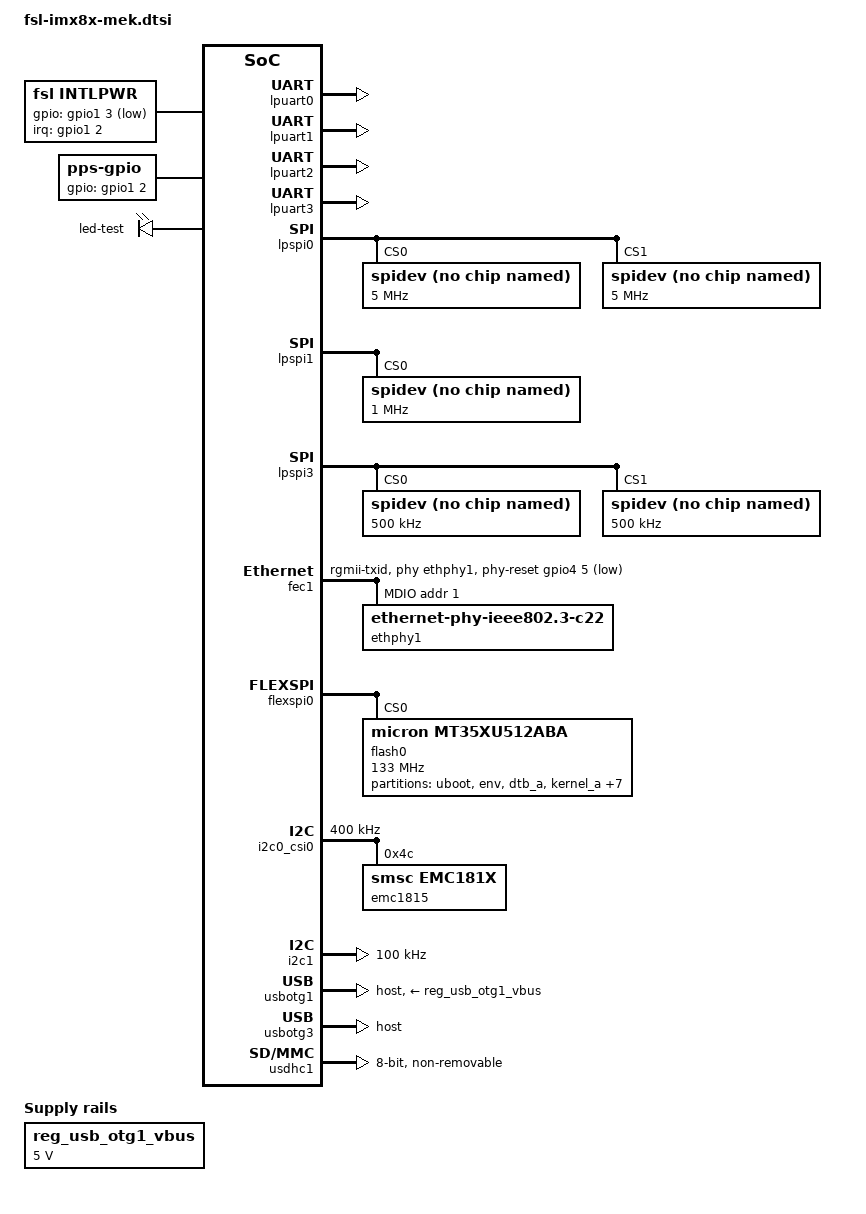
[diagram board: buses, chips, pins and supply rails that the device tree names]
/*
 * Copyright 2017-2020 NXP
 *
 * This program is free software; you can redistribute it and/or
 * modify it under the terms of the GNU General Public License
 * as published by the Free Software Foundation; either version 2
 * of the License, or (at your option) any later version.
 *
 * This program is distributed in the hope that it will be useful,
 * but WITHOUT ANY WARRANTY; without even the implied warranty of
 * MERCHANTABILITY or FITNESS FOR A PARTICULAR PURPOSE.  See the
 * GNU General Public License for more details.
 */

#define __H71E__	  1
#define __5940_PCIE_ENABLE__ 0 //ShengYuan: 5940 doesn't use PCIE to connect CV2X daughter board now.
/ {
	chosen {
		bootargs = "console=ttyLP0,115200 earlycon=lpuart32,0x5a060000,115200";
		stdout-path = &lpuart0;
	};
	
	gpio-keys {
        	compatible = "gpio-keys";
        	pinctrl-names = "default";
	};

	intlpwr{
		compatible = "fsl,intlpwr";	
		pinctrl-names = "default";
		pinctrl-0 = <&pinctrl_lpwr>;
//		gpios = <&gpio1 4 GPIO_ACTIVE_LOW>;
		gpios = <&gpio1 3 GPIO_ACTIVE_LOW>;
		interrupts = <2 IRQ_TYPE_EDGE_FALLING>;
		interrupt-parent = <&gpio1>;
	};
        
	regulators {
		compatible = "simple-bus";
		#address-cells = <1>;
		#size-cells = <0>;


		reg_usb_otg1_vbus: regulator@0 {
			compatible = "regulator-fixed";
			reg = <0>;
			regulator-name = "usb_otg1_vbus";
			regulator-min-microvolt = <5000000>;
			regulator-max-microvolt = <5000000>;
			// Commented out by Kevin 20200413 -- Unnecessary in H7D1 
			// gpio = <&pca9557_b 2 GPIO_ACTIVE_HIGH>;
		  	// End of commented out by Kevin 20200413 -- Unnecessary in H7D1 
			enable-active-high;
		};

	};

	pps {
      		compatible = "pps-gpio";
		pintctrl-names = "default";
		pinctrl-0 = <&pinctrl_pps>;
		gpios = <&gpio1 2 GPIO_ACTIVE_HIGH>;
		status = "okay";
	};
	
	leds {
 		compatible = "gpio-leds"; 
		pinctrl-names = "default";
		pinctrl-0 = <&pinctrl_led>;
		led-test {
			label = "led-test";
			//gpios = <&gpio5 9 GPIO_ACTIVE_LOW>;
		};
	};


};

&iomuxc {
	pinctrl-names = "default";
	pinctrl-0 = <&pinctrl_hog>;

	imx8qxp-mek {
		pinctrl_hog: hoggrp {
			fsl,pins = <
				SC_P_COMP_CTL_GPIO_1V8_3V3_GPIORHB_PAD		0x000514a0
			>;
		};

		pinctrl_lpuart0: lpuart0grp {
			fsl,pins = <
				SC_P_UART0_RX_ADMA_UART0_RX		0x06000020
				SC_P_UART0_TX_ADMA_UART0_TX		0x06000020
			>;
		};

		pinctrl_lpuart1: lpuart1grp {
			fsl,pins = <
				SC_P_UART1_TX_ADMA_UART1_TX		0x06000020
				SC_P_UART1_RX_ADMA_UART1_RX		0x06000020
				SC_P_UART1_RTS_B_ADMA_UART1_RTS_B	0x06000020
				SC_P_UART1_CTS_B_ADMA_UART1_CTS_B	0x06000020
			>;
		};

		pinctrl_lpuart2: lpuart2grp {
			fsl,pins = <
				SC_P_UART2_TX_ADMA_UART2_TX		0x06000020
				SC_P_UART2_RX_ADMA_UART2_RX		0x06000020
			>;
		};

		pinctrl_lpuart3: lpuart3grp {
			fsl,pins = <
				SC_P_FLEXCAN2_TX_ADMA_UART3_TX		0x06000020
				SC_P_FLEXCAN2_RX_ADMA_UART3_RX		0x06000020
			>;
		};

		pinctrl_lpspi0: lpspi0grp {
			fsl,pins = <
				SC_P_SPI0_SCK_ADMA_SPI0_SCK		0x0600004c
				SC_P_SPI0_SDO_ADMA_SPI0_SDO		0x0600004c
				SC_P_SPI0_SDI_ADMA_SPI0_SDI		0x0600004c
				SC_P_SPI0_CS0_ADMA_SPI0_CS0		0x0600004c
				SC_P_SPI0_CS1_ADMA_SPI0_CS1		0x0600004c
			>;
		};
	      
		pinctrl_lpspi1: lpspi1grp {
			fsl,pins = <
				SC_P_SAI0_TXFS_ADMA_SPI1_SCK            0x0600004c
				SC_P_SAI0_TXD_ADMA_SPI1_SDO             0x0600004c
				SC_P_SAI0_TXC_ADMA_SPI1_SDI             0x0600004c
				SC_P_SAI0_RXD_ADMA_SPI1_CS0		0x0600004c
			>;
		};
/*
		pinctrl_dsrc_hsm1800_dav_pin: hsm1800_dav_pin {
			fsl,pins = <
				SC_P_MIPI_DSI1_GPIO0_01_LSIO_GPIO2_IO00		0xe0000061
			>;
		};
*/
		

		pinctrl_lpspi3: lpspi3grp {
			fsl,pins = <
				SC_P_SPI3_SCK_ADMA_SPI3_SCK		0x0600004c
				SC_P_SPI3_SDO_ADMA_SPI3_SDO		0x0600004c
				SC_P_SPI3_SDI_ADMA_SPI3_SDI		0x0600004c
				SC_P_SPI3_CS0_ADMA_SPI3_CS0		0x0600004c
				SC_P_SPI3_CS1_ADMA_SPI3_CS1		0x0600004c
			>;
		};

		pinctrl_fec1_gpio: fec1gpiogrp {
			fsl,pins = <
				/* PHY reset */
				SC_P_USB_SS3_TC2_LSIO_GPIO4_IO05	0xE0000021 
				/* PHY interrupt */
				SC_P_USB_SS3_TC0_LSIO_GPIO4_IO03	0xE0000021 
			>;
		};
		
		pinctrl_fec_mdio: fecmdiogrp {
			fsl,pins = <
				SC_P_ENET0_MDC_CONN_ENET0_MDC		0x06000020
				SC_P_ENET0_MDIO_CONN_ENET0_MDIO		0x06000020
			>;
		};

		pinctrl_fec1: fec1grp {
			fsl,pins = <
				SC_P_ENET0_RGMII_TX_CTL_CONN_ENET0_RGMII_TX_CTL	0x06000020
				SC_P_ENET0_RGMII_TXC_CONN_ENET0_RGMII_TXC	0x06000020
				SC_P_ENET0_RGMII_TXD0_CONN_ENET0_RGMII_TXD0	0x06000020
				SC_P_ENET0_RGMII_TXD1_CONN_ENET0_RGMII_TXD1	0x06000020
				SC_P_ENET0_RGMII_TXD2_CONN_ENET0_RGMII_TXD2	0x06000020
				SC_P_ENET0_RGMII_TXD3_CONN_ENET0_RGMII_TXD3	0x06000020
				SC_P_ENET0_RGMII_RXC_CONN_ENET0_RGMII_RXC	0x06000020
				SC_P_ENET0_RGMII_RX_CTL_CONN_ENET0_RGMII_RX_CTL	0x06000020
				SC_P_ENET0_RGMII_RXD0_CONN_ENET0_RGMII_RXD0	0x06000020
				SC_P_ENET0_RGMII_RXD1_CONN_ENET0_RGMII_RXD1	0x06000020
				SC_P_ENET0_RGMII_RXD2_CONN_ENET0_RGMII_RXD2	0x06000020
				SC_P_ENET0_RGMII_RXD3_CONN_ENET0_RGMII_RXD3	0x06000020
			>;
		};
				


		pinctrl_flexspi0: flexspi0grp {
			fsl,pins = <
			  // Modified by Kevin 20200413 -- porting from H7.1D
				SC_P_QSPI0A_DATA0_LSIO_QSPI0A_DATA0 		0x06000020
				SC_P_QSPI0A_DATA1_LSIO_QSPI0A_DATA1		0x06000020
				SC_P_QSPI0A_DATA2_LSIO_QSPI0A_DATA2 		0x06000020
				SC_P_QSPI0A_DATA3_LSIO_QSPI0A_DATA3 		0x06000020
				SC_P_QSPI0A_DQS_LSIO_QSPI0A_DQS 		0x06000060
				SC_P_QSPI0A_SS0_B_LSIO_QSPI0A_SS0_B 		0x06000020
				SC_P_QSPI0A_SS1_B_LSIO_QSPI0A_SS1_B 		0x06000020
				SC_P_QSPI0A_SCLK_LSIO_QSPI0A_SCLK 		0x06000040
				//SC_P_QSPI0B_SCLK_LSIO_QSPI0B_SCLK		0x06000040
				SC_P_QSPI0B_DATA0_LSIO_QSPI0B_DATA0 		0x06000020
				SC_P_QSPI0B_DATA1_LSIO_QSPI0B_DATA1 		0x06000020
				SC_P_QSPI0B_DATA2_LSIO_QSPI0B_DATA2 		0x06000020
				SC_P_QSPI0B_DATA3_LSIO_QSPI0B_DATA3		0x06000020
				//SC_P_QSPI0B_DQS_LSIO_QSPI0B_DQS		0x06000060
				//SC_P_QSPI0B_SS0_B_LSIO_QSPI0B_SS0_B 		0x06000020
				//SC_P_QSPI0B_SS1_B_LSIO_QSPI0B_SS1_B 		0x06000020
			>;
		};
		
		pinctrl_lpi2c0: lpi2c0grp {
			fsl,pins = <
				SC_P_MIPI_CSI0_I2C0_SCL_MIPI_CSI0_I2C0_SCL	0x06000021
				SC_P_MIPI_CSI0_I2C0_SDA_MIPI_CSI0_I2C0_SDA	0x06000021
			>;
		};

		pinctrl_lpi2c1: lpi1cgrp {
			fsl,pins = <
				SC_P_USB_SS3_TC1_ADMA_I2C1_SCL		0x06000021
				SC_P_USB_SS3_TC3_ADMA_I2C1_SDA		0x06000021
			>;
		};

		pinctrl_usdhc1: usdhc1grp {
			fsl,pins = <
				SC_P_EMMC0_CLK_CONN_EMMC0_CLK		0x06000041
				SC_P_EMMC0_CMD_CONN_EMMC0_CMD		0x00000021
				SC_P_EMMC0_DATA0_CONN_EMMC0_DATA0	0x00000021
				SC_P_EMMC0_DATA1_CONN_EMMC0_DATA1	0x00000021
				SC_P_EMMC0_DATA2_CONN_EMMC0_DATA2	0x00000021
				SC_P_EMMC0_DATA3_CONN_EMMC0_DATA3	0x00000021
				SC_P_EMMC0_DATA4_CONN_EMMC0_DATA4	0x00000021
				SC_P_EMMC0_DATA5_CONN_EMMC0_DATA5	0x00000021
				SC_P_EMMC0_DATA6_CONN_EMMC0_DATA6	0x00000021
				SC_P_EMMC0_DATA7_CONN_EMMC0_DATA7	0x00000021
				SC_P_EMMC0_STROBE_CONN_EMMC0_STROBE	0x00000041
			>;
		};

		pinctrl_usdhc1_100mhz: usdhc1grp100mhz {
			fsl,pins = <
				SC_P_EMMC0_CLK_CONN_EMMC0_CLK		0x06000041
				SC_P_EMMC0_CMD_CONN_EMMC0_CMD		0x00000021
				SC_P_EMMC0_DATA0_CONN_EMMC0_DATA0	0x00000021
				SC_P_EMMC0_DATA1_CONN_EMMC0_DATA1	0x00000021
				SC_P_EMMC0_DATA2_CONN_EMMC0_DATA2	0x00000021
				SC_P_EMMC0_DATA3_CONN_EMMC0_DATA3	0x00000021
				SC_P_EMMC0_DATA4_CONN_EMMC0_DATA4	0x00000021
				SC_P_EMMC0_DATA5_CONN_EMMC0_DATA5	0x00000021
				SC_P_EMMC0_DATA6_CONN_EMMC0_DATA6	0x00000021
				SC_P_EMMC0_DATA7_CONN_EMMC0_DATA7	0x00000021
				SC_P_EMMC0_STROBE_CONN_EMMC0_STROBE	0x00000041
			>;
		};

		pinctrl_usdhc1_200mhz: usdhc1grp200mhz {
			fsl,pins = <
				SC_P_EMMC0_CLK_CONN_EMMC0_CLK		0x06000041
				SC_P_EMMC0_CMD_CONN_EMMC0_CMD		0x00000021
				SC_P_EMMC0_DATA0_CONN_EMMC0_DATA0	0x00000021
				SC_P_EMMC0_DATA1_CONN_EMMC0_DATA1	0x00000021
				SC_P_EMMC0_DATA2_CONN_EMMC0_DATA2	0x00000021
				SC_P_EMMC0_DATA3_CONN_EMMC0_DATA3	0x00000021
				SC_P_EMMC0_DATA4_CONN_EMMC0_DATA4	0x00000021
				SC_P_EMMC0_DATA5_CONN_EMMC0_DATA5	0x00000021
				SC_P_EMMC0_DATA6_CONN_EMMC0_DATA6	0x00000021
				SC_P_EMMC0_DATA7_CONN_EMMC0_DATA7	0x00000021
				SC_P_EMMC0_STROBE_CONN_EMMC0_STROBE	0x00000041
			>;
		};

/* JStinnett 20220217: USDHC1 interface to B2B26 is not used for now, so comment out */
/*
		pinctrl_usdhc2: usdhc2grp {
			fsl,pins = <
				SC_P_USDHC1_CLK_CONN_USDHC1_CLK		0x06000041
				SC_P_USDHC1_CMD_CONN_USDHC1_CMD		0x00000021
				SC_P_USDHC1_DATA0_CONN_USDHC1_DATA0	0x00000021
				SC_P_USDHC1_DATA1_CONN_USDHC1_DATA1	0x00000021
				SC_P_USDHC1_DATA2_CONN_USDHC1_DATA2	0x00000021
				SC_P_USDHC1_DATA3_CONN_USDHC1_DATA3	0x00000021
				SC_P_USDHC1_VSELECT_CONN_USDHC1_VSELECT	0x00000021
			>;
		};

		pinctrl_usdhc2_100mhz: usdhc2grp100mhz {
			fsl,pins = <
				SC_P_USDHC1_CLK_CONN_USDHC1_CLK		0x06000041
				SC_P_USDHC1_CMD_CONN_USDHC1_CMD		0x00000021
				SC_P_USDHC1_DATA0_CONN_USDHC1_DATA0	0x00000021
				SC_P_USDHC1_DATA1_CONN_USDHC1_DATA1	0x00000021
				SC_P_USDHC1_DATA2_CONN_USDHC1_DATA2	0x00000021
				SC_P_USDHC1_DATA3_CONN_USDHC1_DATA3	0x00000021
				SC_P_USDHC1_VSELECT_CONN_USDHC1_VSELECT	0x00000021
			>;
		};

		pinctrl_usdhc2_200mhz: usdhc2grp200mhz {
			fsl,pins = <
				SC_P_USDHC1_CLK_CONN_USDHC1_CLK		0x06000041
				SC_P_USDHC1_CMD_CONN_USDHC1_CMD		0x00000021
				SC_P_USDHC1_DATA0_CONN_USDHC1_DATA0	0x00000021
				SC_P_USDHC1_DATA1_CONN_USDHC1_DATA1	0x00000021
				SC_P_USDHC1_DATA2_CONN_USDHC1_DATA2	0x00000021
				SC_P_USDHC1_DATA3_CONN_USDHC1_DATA3	0x00000021
				SC_P_USDHC1_VSELECT_CONN_USDHC1_VSELECT	0x00000021
			>;
		};
*/
#if __5940_PCIE_ENABLE__
		pinctrl_pcieb: pcieagrp {
			fsl,pins = <
				SC_P_PCIE_CTRL0_PERST_B_LSIO_GPIO4_IO00		0x06000021
				SC_P_PCIE_CTRL0_CLKREQ_B_LSIO_GPIO4_IO01	0x06000021
				SC_P_PCIE_CTRL0_WAKE_B_LSIO_GPIO4_IO02		0x04000021
			>;
		};
#endif

		pinctrl_led: ledgrp {
			fsl,pins = <
				SC_P_ENET0_REFCLK_125M_25M_LSIO_GPIO5_IO09	0xE0000021 // TP1701 (in/out)
			>;
		};
		
		pinctrl_pps: ppsgrp {
			fsl,pins = <
				SC_P_SPI2_SDI_LSIO_GPIO1_IO02		0xE0000021 //1PPS_SW_OUT (in)
			>;
		};

		pinctrl_lpwr: lpwrgrp{
                        fsl,pins = <
				SC_P_SPI2_SCK_LSIO_GPIO1_IO03			0xE0000061 // VCC_12P0_FAIL_N (in)
			>;
                };


                pinctrl_gpio0: gpio0grp {
			fsl,pins = <
				SC_P_ESAI0_FST_LSIO_GPIO0_IO01			0xE0000021 // TP1105 (in)
				SC_P_ESAI0_SCKR_LSIO_GPIO0_IO02			0xE0000021 // TYPEC_SS_MUX_EN (out)
				SC_P_ESAI0_SCKT_LSIO_GPIO0_IO03			0xE0000021 // VCC_6P0_EN (out)
				SC_P_ESAI0_TX0_LSIO_GPIO0_IO04			0xE0000041 // HUB_FLEXCONN_SEL_SW (out)
				//SC_P_ESAI0_TX1_LSIO_GPIO0_IO05		0xE0000021 // N/C
				SC_P_ESAI0_TX2_RX3_LSIO_GPIO0_IO06		0xE0000021 // TP1106 (in)
				SC_P_ESAI0_TX3_RX2_LSIO_GPIO0_IO07		0xE0000021 // TP1107 (in)
				SC_P_ESAI0_TX4_RX1_LSIO_GPIO0_IO08		0xE0000021 // HSM_RST (out)
				SC_P_ESAI0_TX5_RX0_LSIO_GPIO0_IO09		0xE0000021 // TP1108 (in)
				SC_P_SPDIF0_RX_LSIO_GPIO0_IO10			0xE0000041 // USB_UART_RST (out)
				SC_P_SPDIF0_TX_LSIO_GPIO0_IO11			0xE0000021 // GNSS_ANT_PWR (out)
				SC_P_SPDIF0_EXT_CLK_LSIO_GPIO0_IO12		0xE0000021 // GNSS_RST_N (out)
				SC_P_MCLK_IN0_LSIO_GPIO0_IO19			0xE0000021 // VCONN_FAULT_N (in)
				SC_P_MCLK_OUT0_LSIO_GPIO0_IO20			0xE0000021 // GPIO_DRIVER_EN (out)
				SC_P_SAI1_RXD_LSIO_GPIO0_IO29			0xE0000021 // GPIO1_IMX8 (in)
				SC_P_SAI1_RXC_LSIO_GPIO0_IO30			0xE0000021 // GPIO2_IMX8 (in)
				SC_P_SAI1_RXFS_LSIO_GPIO0_IO31			0xE0000021 // GPIO3_IMX8 (in)

			>;
		};
		
		pinctrl_gpio1: gpio1grp {
			fsl,pins = <
				SC_P_SPI2_CS0_LSIO_GPIO1_IO00			0xE0000021 // PSH_BTN_N (in)
				//SC_P_SPI2_SCK_LSIO_GPIO1_IO03			0xE0000061 // VCC_12P0_FAIL_N (in)
				SC_P_ADC_IN4_LSIO_GPIO1_IO14			0xE0000021 // VCC_DCIN_DET_N_1V8 (in)
				SC_P_FLEXCAN0_RX_LSIO_GPIO1_IO15		0xE0000041 // TYPE2_DET (in)
				SC_P_FLEXCAN0_TX_LSIO_GPIO1_IO16 		0xE0000041 // 1PPS_SEL (out)
				SC_P_FLEXCAN1_TX_LSIO_GPIO1_IO18 		0xE0000021 // TYPEC_INT_N (in)
				SC_P_MIPI_DSI0_I2C0_SCL_LSIO_GPIO1_IO25		0xE0000041 // M_BUSY (out)
				SC_P_MIPI_DSI0_I2C0_SDA_LSIO_GPIO1_IO26		0xE0000041 // M_RUN (out)
				SC_P_MIPI_DSI0_GPIO0_00_LSIO_GPIO1_IO27		0xE0000041 // M_WDP (out)
				SC_P_MIPI_DSI0_GPIO0_01_LSIO_GPIO1_IO28		0xE0000021 // M_CLD_RST_N (out)
				SC_P_MIPI_DSI1_I2C0_SCL_LSIO_GPIO1_IO29		0xE0000041 // RH850_GPIO1 (in/out)
				SC_P_MIPI_DSI1_I2C0_SDA_LSIO_GPIO1_IO30		0xE0000041 // RH850_GPIO2 (in/out)
				SC_P_MIPI_DSI1_GPIO0_00_LSIO_GPIO1_IO31		0xE0000021 // B2B26_I2C_SCL_GPIO4 (HSM_PWR_EN) (out default)

			>;
		};
			
		pinctrl_gpio2: gpio2grp {
			fsl,pins = <
				SC_P_MIPI_DSI1_GPIO0_01_LSIO_GPIO2_IO00		0xE0000021 // IMX8_B2B26_I2C_SDA_GPIO3 (DSRC HSM_DAV) (in default)
			>;
		};
		
		pinctrl_gpio3: gpio3grp {
			fsl,pins = <
				SC_P_CSI_PCLK_LSIO_GPIO3_IO00			0xE0000041 // B2B26_GPIO6 (HSM_RST) (out default)
				SC_P_CSI_MCLK_LSIO_GPIO3_IO01			0xE0000021 // B2B26_GPIO5 (DSRC_SPI_SEL) (out default)
				SC_P_CSI_EN_LSIO_GPIO3_IO02			0xE0000041 // B2B26_PWR_EN (out)
				SC_P_CSI_RESET_LSIO_GPIO3_IO03			0xE0000041 // B2B26_RST_N (out)
				SC_P_MIPI_CSI0_MCLK_OUT_LSIO_GPIO3_IO04  	0xE0000041 // B2B50_ON_OFF (out)
				SC_P_MIPI_CSI0_GPIO0_01_LSIO_GPIO3_IO07		0xE0000041 // B2B50_RST_N (out)
				SC_P_MIPI_CSI0_GPIO0_00_LSIO_GPIO3_IO08		0xE0000041 // B2B50_PWR_EN (out)
				SC_P_QSPI0B_SCLK_LSIO_GPIO3_IO17 		0xE0000041 // HSM_SE_RDY_1V8 (in)
				SC_P_QSPI0B_DQS_LSIO_GPIO3_IO22			0xE0000041 // HSM_DAV_1V8 (in)
				SC_P_QSPI0B_SS0_B_LSIO_GPIO3_IO23		0xE0000021 // eMMC_RST_N_1V8 (out)
				SC_P_QSPI0B_SS1_B_LSIO_GPIO3_IO24 		0xE0000021 // USB_PWR_EN_1V8 (out)
			>;
		};

		pinctrl_gpio4: gpio4grp {
			fsl,pins = <
				SC_P_PCIE_CTRL0_PERST_B_LSIO_GPIO4_IO00		0xE0000021 // IMX8_B2B50_PCIE_RESET_N (out)
				SC_P_PCIE_CTRL0_CLKREQ_B_LSIO_GPIO4_IO01	0xE0000041 // IMX8_B2B50_PCIE_CLK_REQ (in)
				SC_P_PCIE_CTRL0_WAKE_B_LSIO_GPIO4_IO02		0xE0000041 // IMX8_B2B50_PCIE_WAKEUP (in)
				//SC_P_USB_SS3_TC0_LSIO_GPIO4_IO03		0xE0000021 // ENET_INT_N (in)
				//SC_P_USB_SS3_TC2_LSIO_GPIO4_IO05		0xE0000021 // ENET_RST_N (out)
				SC_P_EMMC0_RESET_B_LSIO_GPIO4_IO18		0xE0000021 // USB_OTG1_FLT_N_1V8 (in)
				SC_P_USDHC1_RESET_B_LSIO_GPIO4_IO19		0xE0000041 // VCC_B2B50_3P3_EN (out)
				SC_P_USDHC1_CD_B_LSIO_GPIO4_IO22		0xE0000041 // USB_HUB_RST_N (out)
			>;
		};
/*
		pinctrl_gpio5: gpio5grp {
			fsl,pins = <
				SC_P_ENET0_REFCLK_125M_25M_LSIO_GPIO5_IO09		0xE0000021 // TP1701 (in/out)
			>;
		
                };
*/


	};
};

&pd_dma_lpuart0 {
	debug_console;
};

&lpuart0 {
	pinctrl-names = "default";
	pinctrl-0 = <&pinctrl_lpuart0>;
	status = "okay";
};

&lpuart1 {
	pinctrl-names = "default";
	pinctrl-0 = <&pinctrl_lpuart1>;
	status = "okay";
};

&lpuart2 {
	pinctrl-names = "default";
	pinctrl-0 = <&pinctrl_lpuart2>;
	status = "okay";
};

&lpuart3 {
	pinctrl-names = "default";
	pinctrl-0 = <&pinctrl_lpuart3>;
	status = "okay";
};

&lpspi0 {
        #address-cells = <1>;
        #size-cells = <0>;
        fsl,spi-num-chipselects = <2>;
        pinctrl-names = "default";
        pinctrl-0 = <&pinctrl_lpspi0>;
        status = "okay";
	//Mainboard HSM
        spidev@0 {
                compatible = "rohm,dh2228fv";
                spi-max-frequency = <5000000>;
                reg = <0>;
        };
	//GPIO Driver
	spidev@1 {
                compatible = "rohm,dh2228fv";
                spi-max-frequency = <5000000>;
                reg = <1>;
        };
};

&lpspi1 {
	#address-cells = <1>;
	#size-cells = <0>;
	fsl,spi-num-chipselects = <1>;
	pinctrl-names = "default";
	pinctrl-0 = <&pinctrl_lpspi1>;
	status = "okay";
	//B2B50 
	spidev@0 {
		compatible = "rohm,dh2228fv";
		spi-max-frequency = <1000000>;
		reg = <0>;
	};
};


&lpspi3 {
	#address-cells = <1>;
	#size-cells = <0>;
	fsl,spi-num-chipselects = <2>;
	pinctrl-names = "default";
	pinctrl-0 = <&pinctrl_lpspi3>;

	status = "okay";
	// DSRC DB: HSM
	spidev@0 {
		compatible = "rohm,dh2228fv";
		spi-max-frequency = <500000>;
		reg = <0>;
		//pinctrl-names = "default";
	};
	// DSRC DB: VERA and SPI Flash
	spidev@1 {
		compatible = "rohm,dh2228fv";
		spi-max-frequency = <500000>;
		reg = <1>;
	};
};

&fec1 {
	pinctrl-names = "default";
	pinctrl-0 = <&pinctrl_fec_mdio>,
		<&pinctrl_fec1_gpio>,
		<&pinctrl_fec1>;
	phy-mode = "rgmii-txid";
	phy-handle = <&ethphy1>;
	phy-reset-gpios = <&gpio4 5 GPIO_ACTIVE_LOW>;
	phy-reset-duration = <100>;
	phy-reset-post-delay = <1000>;
	smsc,disable-energy-detect;
	//digi,phy-reset-in-suspend;
	fsl,magic-packet;
	fsl,rgmii_rxc_dly;
	status = "okay";
	mdio {
		#address-cells = <1>;
		#size-cells = <0>;
/*
		ethphy0: ethernet-phy@0 {
			compatible = "ethernet-phy-ieee802.3-c22";
			reg = <0>;
			// tja110x,refclk_in;
			// at803x,eee-disabled;
			// at803x,vddio-1p8v;
		};
*/
		ethphy1: ethernet-phy@1 {
			compatible = "ethernet-phy-ieee802.3-c22";
			reg = <1>;
			// at803x,eee-disabled;
			// at803x,vddio-1p8v;
		};
	};
};


&flexspi0 {
	pinctrl-names = "default";
	pinctrl-0 = <&pinctrl_flexspi0>;
	status = "okay";

	flash0: mt35xu512aba@0 {
		reg = <0>;
		#address-cells = <1>;
		#size-cells = <1>;
		compatible = "micron,mt35xu512aba";
		spi-max-frequency = <133000000>;
		spi-nor,ddr-quad-read-dummy = <8>;


		partition@0 { // 1408KB
			label= "uboot";
			reg= <0x0 0x160000>;
		};
		
		partition@1 { // 128KB
			label= "env";
			reg= <0x160000 0x20000>;
		};

		partition@2 { // 128KB
			label= "dtb_a";
			reg= <0x180000 0x20000>;
		};
		
		partition@3 { // 22MB
			label= "kernel_a";
			reg= <0x1A0000 0x1600000>;
		};

		partition@4 { // 103MB
			label= "rootfs_a";
			reg= <0x17A0000 0x6700000>;
		};
		
		partition@5 { // 128KB
			label= "dtb_b";
			reg= <0x7EA0000 0x20000>;
		};

		partition@6 { // 22MB
			label= "kernel_b";
			reg= <0x7EC0000 0x1600000>;
		};

		partition@7 { // 100MB
			label= "rootfs_b";
			reg= <0x94C0000 0x6700000>;
		};
		
		partition@8 { // 4352KB
			label= "user_config";
			reg= <0xFBC0000 0x420000>;
		};

                /* LN - last 128KB lockable sector */
		partition@9 {
			label= "system";
			reg= <0xFFE0000 0x20000>;
		};

                /* LN - low pwr info 128KB sector - next to last */
		partition@10 {
			label= "lpwr";
			reg= <0xFFC0000 0x20000>;
		};
	};
};

//Temp IC
&i2c0_csi0 {
	#address-cells = <1>;
	#size-cells = <0>;
	clock-frequency = <400000>;
	pinctrl-names = "default";
	pinctrl-0 = <&pinctrl_lpi2c0>;
	status = "okay";
	//emc1815 compatible with mc1066?  Let's see.
	emc1815@4C {
		compatible = "smsc,emc181x";
		reg = <0x4C>;
		emc181x,apd = "true";
		status = "okay";
		#address-cells = <1>;
		#size-cells = <0>;
	};
};

&i2c1 {
	#address-cells = <1>;
	#size-cells = <0>;
	clock-frequency = <100000>;
	pinctrl-names = "default";
	pinctrl-0 = <&pinctrl_lpi2c1>;
	status = "okay";
};

&usbotg1 {
	vbus-supply = <&reg_usb_otg1_vbus>;
	srp-disable;
	hnp-disable;
	adp-disable;
	power-polarity-active-high;
	disable-over-current;
	status = "okay";
	dr_mode = "host";
};


&usbotg3 {
	dr_mode = "host";
	status = "okay";
};

// JStinnett 20220209: Comment out WNC USB drive strength patch known to cause problems with DSRC USB
//&usbphy1 {
//	fsl,tx-d-cal = <114>;
//};

&usdhc1 {
	pinctrl-names = "default", "state_100mhz", "state_200mhz";
	pinctrl-0 = <&pinctrl_usdhc1>;
	pinctrl-1 = <&pinctrl_usdhc1_100mhz>;
	pinctrl-2 = <&pinctrl_usdhc1_200mhz>;
	bus-width = <8>;
	non-removable;
	status = "okay";
};

// JStinnett 20220217: USDHC2 microSD is not used for RSU-5940.  Comment out for now.
/*
&usdhc2 {
	pinctrl-names = "default", "state_100mhz", "state_200mhz";
	pinctrl-0 = <&pinctrl_usdhc2>, <&pinctrl_usdhc2_gpio>;
	pinctrl-1 = <&pinctrl_usdhc2_100mhz>, <&pinctrl_usdhc2_gpio>;
	pinctrl-2 = <&pinctrl_usdhc2_200mhz>, <&pinctrl_usdhc2_gpio>;
	bus-width = <4>;
	cd-gpios = <&gpio4 22 GPIO_ACTIVE_LOW>;
	// Modified by Kevin 20200413 -- porting from H7D1
	// Commented out by Kevin -- this pin is assigned for GPIO mode
	// wp-gpios = <&gpio4 21 GPIO_ACTIVE_HIGH>;
	// End of ommented out by Kevin -- this pin is assigned for GPIO mode
	vmmc-supply = <&reg_usdhc2_vmmc>;
	// WNC modify start, Bowei, SD card speed reduction to fix SD card sometimes fails to boot
	disable-wp;
	// WNC modify end, Bowei, SD card speed reduction to fix SD card sometimes fails to boot
	// End of modified by Kevin 20200413 -- porting from H7D1
	status = "okay";
};
*/
&pcieb{
#if __5940_PCIE_ENABLE__
  // Modified by Kevin 20200413 -- porting from H7D1
	// ext_osc = <1>;
	ext_osc = <0>;
	pinctrl-names = "default";
	pinctrl-0 = <&pinctrl_pcieb>;
	clkreq-gpio = <&gpio4 1 GPIO_ACTIVE_LOW>;
	// Modified by Kevin 20200413 -- new pin for controlling PCIe hub power
	// power-on-gpio = <&pca9557_a 2 GPIO_ACTIVE_HIGH>;
	//power-on-gpio = <&pca9555_b 15 GPIO_ACTIVE_HIGH>;
	// End of modified by Kevin 20200413 -- new pin for controlling PCIe hub power
	reset-gpio = <&gpio4 0 GPIO_ACTIVE_LOW>;
	epdev_on-supply = <&epdev_on>;
	status = "okay";
#else
    status = "disabled";
#endif
};

&pixel_combiner {
	status = "disabled";
};

&prg1 {
	status = "disabled";
};

&prg2 {
	status = "disabled";
};

&prg3 {
	status = "disabled";
};

&prg4 {
	status = "disabled";
};

&prg5 {
	status = "disabled";
};

&prg6 {
	status = "disabled";
};

&prg7 {
	status = "disabled";
};

&prg8 {
	status = "disabled";
};

&prg9 {
	status = "disabled";
};

&dpr1_channel1 {
	status = "disabled";
};

&dpr1_channel2 {
	status = "disabled";
};

&dpr1_channel3 {
	status = "disabled";
};

&dpr2_channel1 {
	status = "disabled";
};

&dpr2_channel2 {
	status = "disabled";
};

&dpr2_channel3 {
	status = "disabled";
};

&dpu1 {
	status = "disabled";
};

&gpu_3d0 {
	status = "disabled";
};

&imx8_gpu_ss {
	status = "disabled";
};

&isi_0 {
	status = "disabled";
};

&isi_1 {
	// status = "okay";
	status = "disabled";
};

&isi_2 {
	// status = "okay";
	status = "disabled";
};

&isi_3 {
	// status = "okay";
	status = "disabled";
};

&isi_4 {
	status = "disabled";
};

&gpio0 {
	pinctrl-names = "default";
	pinctrl-0 = <&pinctrl_gpio0>;
	status = "okay";
};

&gpio1 {
	pinctrl-names = "default";
	pinctrl-0 = <&pinctrl_gpio1>;
	status = "okay";
};

&gpio2 {
	pinctrl-names = "default";
	pinctrl-0 = <&pinctrl_gpio2>;
	status = "okay";
};

&gpio3 {
	pinctrl-names = "default";
	pinctrl-0 = <&pinctrl_gpio3>;
	status = "okay";
};

&gpio4 {
	pinctrl-names = "default";
	pinctrl-0 = <&pinctrl_gpio4>;
	status = "okay";
};

&vpu {
	status = "disabled";
};

&vpu_decoder {
	core_type = <1>;
	status = "disabled";
};

&vpu_encoder {
 	core_type = <1>;
	status = "disabled";
};


&tsens {
	tsens-num = <3>;
};

&thermal_zones {
	pmic-thermal0 {
		polling-delay-passive = <250>;
		polling-delay = <2000>;
		thermal-sensors = <&tsens 2>;
		trips {
			pmic_alert0: trip0 {
			  // Modified by Kevin 20200413 -- porting from H7D1
				// temperature = <110000>;
				temperature = <115000>;
			  // End of modified by Kevin 20200413 -- porting from H7D1
				hysteresis = <2000>;
				type = "passive";
			};
			pmic_crit0: trip1 {
				temperature = <125000>;
				hysteresis = <2000>;
				type = "critical";
			};
		};
		cooling-maps {
			map0 {
				trip = <&pmic_alert0>;
				cooling-device =
				<&A35_0 THERMAL_NO_LIMIT THERMAL_NO_LIMIT>;
			};
		};
	};
};
